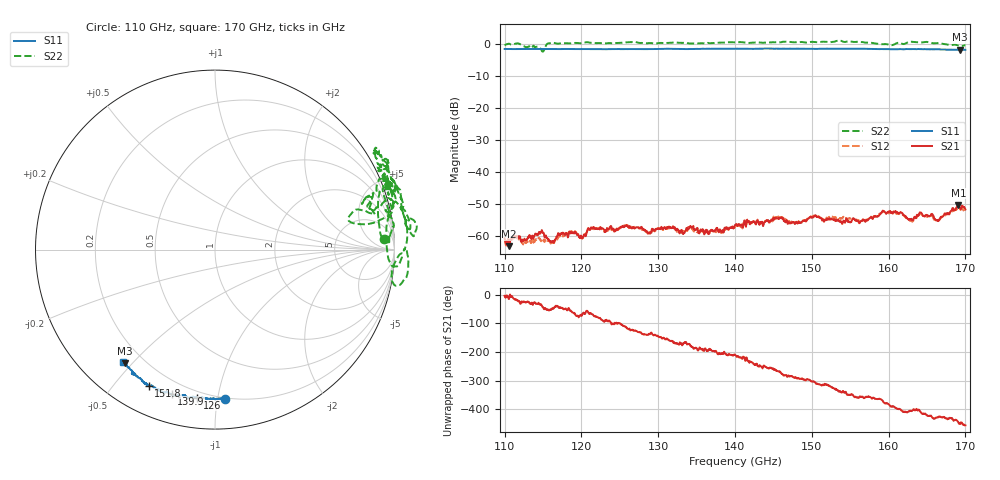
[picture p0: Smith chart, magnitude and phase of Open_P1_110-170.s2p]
!Keysight Technologies,N5247B,MY61256062,A.16.20.04
!Date: Wednesday, November 26, 2025 05:08:35
!Correction: S11(C  2-Port  )
!S21(C  2-Port  )
!S12(C  2-Port  )
!S22(C  2-Port  )
!S2P File: Measurements: S11, S21, S12, S22:
# Hz S  dB  R 50
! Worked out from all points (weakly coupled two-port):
!   1471 points, 110 GHz to 170 GHz, reference 50 ohm
!   highest |S21| = -50.18 dB at 169.1 GHz (marker M1); lowest = -63.0 dB at 110.6 GHz (marker M2)
!   lowest |S11| = -1.8 dB at 169.3 GHz (marker M3), VSWR 9.46, Z = 6.5 - j23.8 ohm
!   |S11| at or under -10 dB: nowhere
!   |S22| runs from -2.4 to 1.1 dB; largest |S21 - S12| = 0.0023
!   S11 on the Smith chart (normalised r, x): 110 GHz: 0.19, -1.05; 126 GHz: 0.16, -0.87; 139.9 GHz: 0.13, -0.74; 151.8 GHz: 0.12, -0.62; 170 GHz: 0.13, -0.47
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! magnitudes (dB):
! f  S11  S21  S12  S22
! 110 GHz  -1.6  -60.6  -61.2  -0.5
! 110.6 GHz  -1.6  -63.0  -62.9  0.0
! 114.7 GHz  -1.6  -58.8  -61.5  -1.6
! 116.2 GHz  -1.6  -61.5  -61.7  0.4
! 118.7 GHz  -1.6  -58.6  -58.4  0.2
! 120 GHz  -1.6  -59.8  -60.1  0.2
! 121.1 GHz  -1.6  -57.9  -57.5  0.4
! 126 GHz  -1.6  -56.8  -56.6  0.5
! 128.8 GHz  -1.6  -59.0  -58.7  0.3
! 130 GHz  -1.6  -57.6  -57.7  0.2
! 136.6 GHz  -1.5  -58.8  -58.9  0.2
! 139.9 GHz  -1.5  -57.0  -57.2  0.5
! 140 GHz  -1.5  -56.5  -57.2  0.4
! 150 GHz  -1.5  -54.2  -54.0  0.6
! 151.8 GHz  -1.5  -54.7  -54.3  0.7
! 156.3 GHz  -1.5  -55.6  -54.8  0.6
! 160 GHz  -1.6  -52.2  -52.7  -0.2
! 162.9 GHz  -1.6  -54.6  -55.2  0.7
! 166.4 GHz  -1.6  -54.9  -55.0  0.3
! 169.1 GHz  -1.8  -50.2  -51.3  -0.5
! 169.3 GHz  -1.8  -51.2  -51.3  -0.7
! 170 GHz  -1.8  -51.6  -52.1  -0.4
